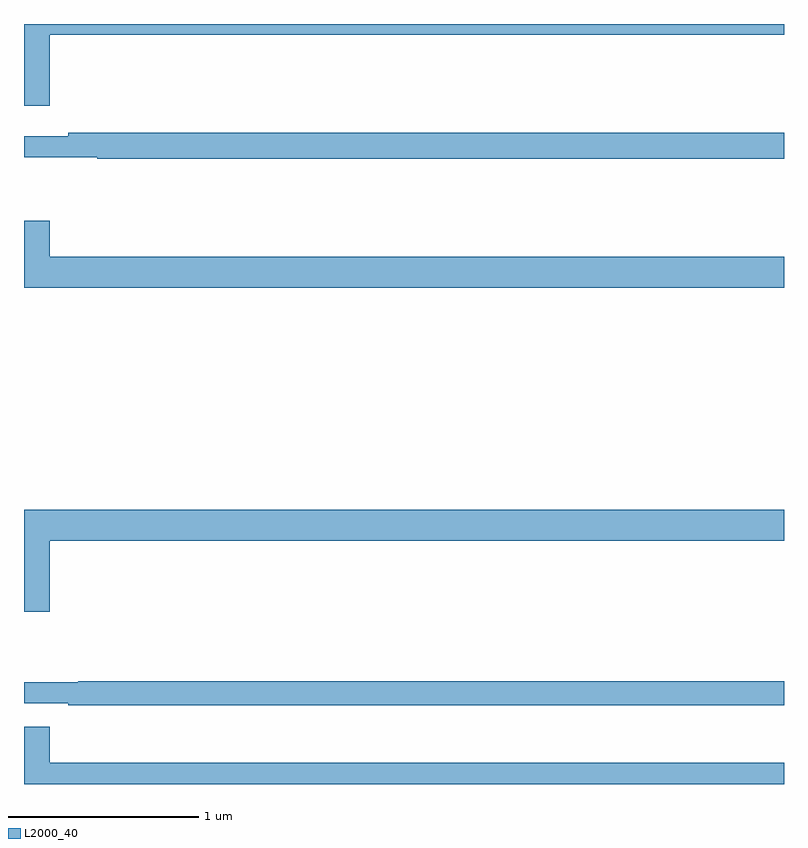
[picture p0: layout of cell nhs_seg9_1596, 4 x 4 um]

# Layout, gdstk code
import gdstk
lib = gdstk.Library(unit=1e-6, precision=1e-09)
def P(c, l, *ps):  # polygons
    for p in ps: c.add(gdstk.Polygon(p, *l))
L2000_40 = (2000, 40)

nhs_seg9_1596 = lib.new_cell('nhs_seg9_1596')
P(nhs_seg9_1596, L2000_40, [(201.136,1172.444),(205,1172.444),(205,1172.5),(201,1172.5),(201,1172.07),(201.136,1172.07)],
  [(205,1171.928),(201.232,1171.928),(201.232,1171.909),(201,1171.909),(201,1171.8),(201.386,1171.8),(201.386,1171.792),(205,1171.792)],
  [(205,1171.276),(201.136,1171.276),(201.136,1171.465),(201,1171.465),(201,1171.112),(205,1171.112)],
  [(201.136,1169.78),(205,1169.78),(205,1169.944),(201,1169.944),(201,1169.406),(201.136,1169.406)],
  [(205,1169.042),(201.286,1169.042),(201.286,1169.035),(201,1169.035),(201,1168.926),(201.232,1168.926),(201.232,1168.914),(205,1168.914)],
  [(205,1168.612),(201.136,1168.612),(201.136,1168.801),(201,1168.801),(201,1168.5),(205,1168.5)])

lib.write_gds('nhs_seg9_1596.gds')
